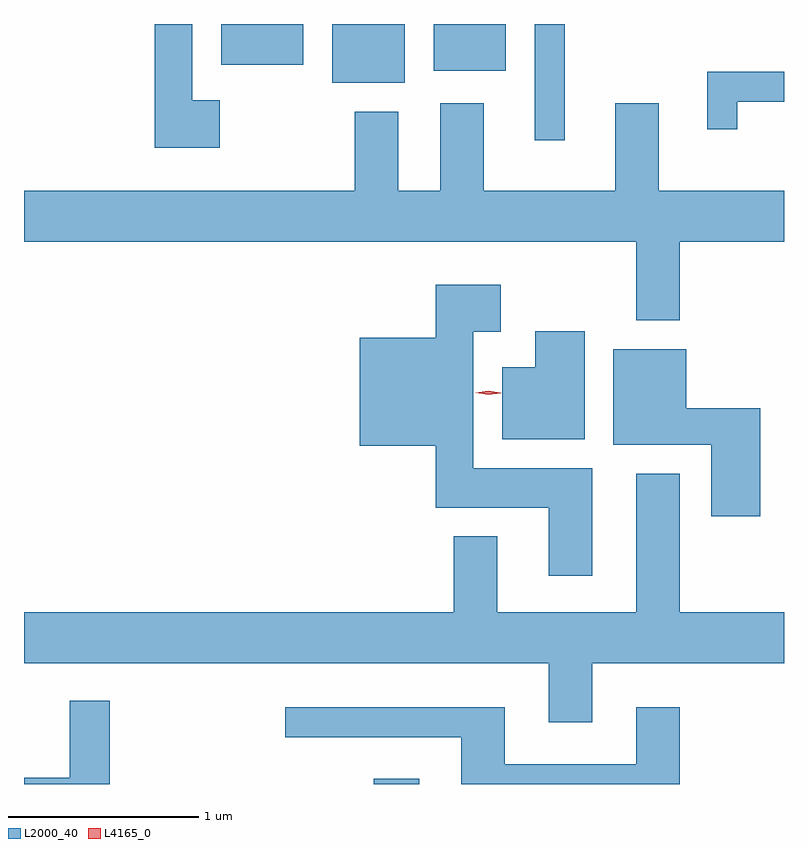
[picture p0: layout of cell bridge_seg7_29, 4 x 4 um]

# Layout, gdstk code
import gdstk
lib = gdstk.Library(unit=1e-6, precision=1e-09)
def R(c, l, rs):  # rectangles x0, y0, x1, y1
    for r in rs: c.add(gdstk.rectangle(r[:2], r[2:], *l))
def P(c, l, *ps):  # polygons
    for p in ps: c.add(gdstk.Polygon(p, *l))
L2000_40 = (2000, 40)
L4165_0 = (4165, 0)

bridge_seg7_29 = lib.new_cell('bridge_seg7_29')
R(bridge_seg7_29, L2000_40, [(1862.581,1775.841,1862.818,1775.869), (1863.426,1779.228,1863.584,1779.841), (1862.361,1779.531,1862.744,1779.841), (1862.896,1779.596,1863.274,1779.841), (1861.776,1779.626,1862.209,1779.841)])
P(bridge_seg7_29, L2000_40, [(1861.769,1779.439),(1861.624,1779.439),(1861.624,1779.841),(1861.426,1779.841),(1861.426,1779.191),(1861.769,1779.191)],
  [(1864.494,1779.431),(1864.739,1779.431),(1864.739,1779.589),(1864.336,1779.589),(1864.336,1779.288),(1864.494,1779.288)],
  [(1864.189,1778.696),(1864.739,1778.696),(1864.739,1778.964),(1864.079,1778.964),(1864.079,1779.424),(1863.851,1779.424),(1863.851,1778.964),(1863.159,1778.964),(1863.159,1779.424),(1862.931,1779.424),(1862.931,1778.964),(1862.709,1778.964),(1862.709,1779.379),(1862.481,1779.379),(1862.481,1778.964),(1860.739,1778.964),(1860.739,1778.696),(1863.961,1778.696),(1863.961,1778.281),(1864.189,1778.281)],
  [(1863.729,1777.504),(1863.104,1777.504),(1863.104,1778.221),(1863.249,1778.221),(1863.249,1778.469),(1862.906,1778.469),(1862.906,1778.189),(1862.506,1778.189),(1862.506,1777.621),(1862.906,1777.621),(1862.906,1777.296),(1863.501,1777.296),(1863.501,1776.936),(1863.729,1776.936)],
  [(1863.689,1778.224),(1863.431,1778.224),(1863.431,1778.034),(1863.256,1778.034),(1863.256,1777.656),(1863.689,1777.656)],
  [(1864.614,1777.819),(1864.224,1777.819),(1864.224,1778.129),(1863.841,1778.129),(1863.841,1777.626),(1864.356,1777.626),(1864.356,1777.251),(1864.614,1777.251)],
  [(1863.729,1776.476),(1864.739,1776.476),(1864.739,1776.744),(1864.189,1776.744),(1864.189,1777.474),(1863.961,1777.474),(1863.961,1776.744),(1863.229,1776.744),(1863.229,1777.144),(1863.001,1777.144),(1863.001,1776.744),(1860.739,1776.744),(1860.739,1776.476),(1863.501,1776.476),(1863.501,1776.166),(1863.729,1776.166)],
  [(1861.189,1776.279),(1860.981,1776.279),(1860.981,1775.874),(1860.739,1775.874),(1860.739,1775.841),(1861.189,1775.841)],
  [(1864.189,1776.244),(1863.961,1776.244),(1863.961,1775.944),(1863.269,1775.944),(1863.269,1776.244),(1862.113,1776.244),(1862.113,1776.086),(1863.041,1776.086),(1863.041,1775.841),(1864.189,1775.841)])
P(bridge_seg7_29, L4165_0, [(1863.182,1777.89),(1863.116,1777.9),(1863.116,1777.901),(1863.116,1777.901),(1863.182,1777.91),(1863.248,1777.899),(1863.248,1777.899),(1863.248,1777.898)])

lib.write_gds('bridge_seg7_29.gds')
